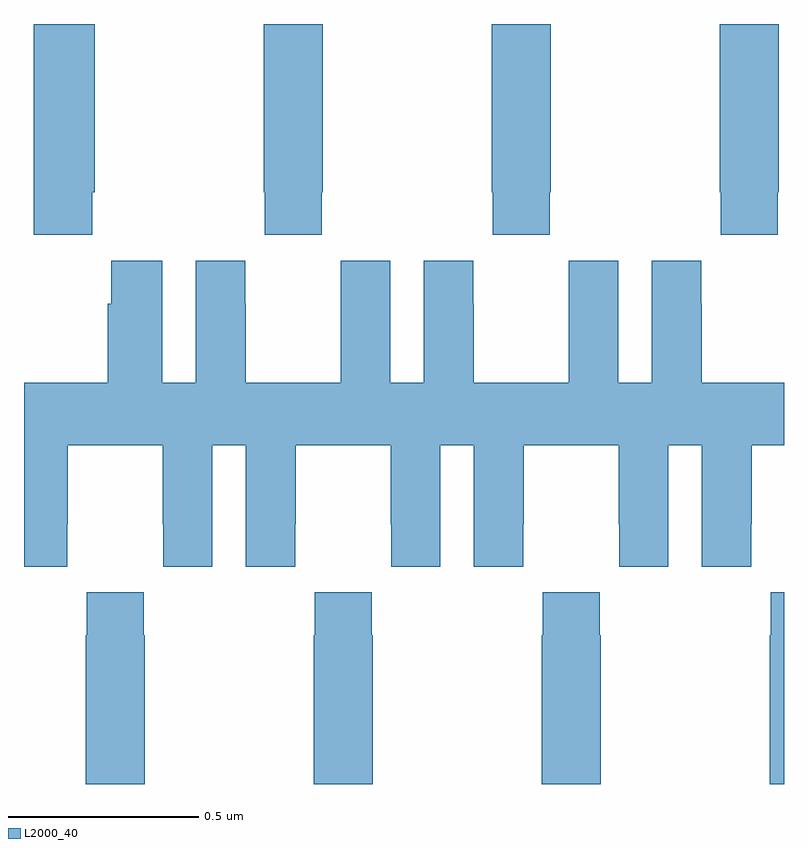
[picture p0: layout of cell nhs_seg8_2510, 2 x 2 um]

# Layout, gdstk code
import gdstk
lib = gdstk.Library(unit=1e-6, precision=1e-09)
def P(c, l, *ps):  # polygons
    for p in ps: c.add(gdstk.Polygon(p, *l))
L2000_40 = (2000, 40)

nhs_seg8_2510 = lib.new_cell('nhs_seg8_2510')
P(nhs_seg8_2510, L2000_40, [(144.179,1158.457),(144.186,1158.457),(144.186,1158.9),(144.026,1158.9),(144.026,1158.345),(144.179,1158.345)],
  [(145.983,1158.457),(145.986,1158.457),(145.986,1158.9),(145.831,1158.9),(145.831,1158.457),(145.833,1158.457),(145.833,1158.345),(145.983,1158.345)],
  [(145.383,1158.457),(145.386,1158.457),(145.386,1158.9),(145.231,1158.9),(145.231,1158.457),(145.233,1158.457),(145.233,1158.345),(145.383,1158.345)],
  [(144.783,1158.457),(144.786,1158.457),(144.786,1158.9),(144.631,1158.9),(144.631,1158.457),(144.633,1158.457),(144.633,1158.345),(144.783,1158.345)],
  [(145.783,1158.164),(145.782,1158.164),(145.782,1158.277),(145.652,1158.277),(145.652,1157.956),(145.564,1157.956),(145.564,1158.277),(145.434,1158.277),(145.434,1158.164),(145.433,1158.164),(145.433,1157.956),(145.183,1157.956),(145.183,1158.164),(145.182,1158.164),(145.182,1158.277),(145.052,1158.277),(145.052,1157.956),(144.964,1157.956),(144.964,1158.277),(144.834,1158.277),(144.834,1158.164),(144.833,1158.164),(144.833,1157.956),(144.583,1157.956),(144.583,1158.164),(144.582,1158.164),(144.582,1158.277),(144.452,1158.277),(144.452,1157.956),(144.364,1157.956),(144.364,1158.277),(144.23,1158.277),(144.23,1158.164),(144.221,1158.164),(144.221,1157.956),(144,1157.956),(144,1157.472),(144.114,1157.472),(144.114,1157.584),(144.115,1157.584),(144.115,1157.792),(144.365,1157.792),(144.365,1157.584),(144.366,1157.584),(144.366,1157.472),(144.496,1157.472),(144.496,1157.792),(144.584,1157.792),(144.584,1157.472),(144.714,1157.472),(144.714,1157.584),(144.715,1157.584),(144.715,1157.792),(144.965,1157.792),(144.965,1157.584),(144.966,1157.584),(144.966,1157.472),(145.096,1157.472),(145.096,1157.792),(145.184,1157.792),(145.184,1157.472),(145.314,1157.472),(145.314,1157.584),(145.315,1157.584),(145.315,1157.792),(145.565,1157.792),(145.565,1157.584),(145.566,1157.584),(145.566,1157.472),(145.696,1157.472),(145.696,1157.792),(145.784,1157.792),(145.784,1157.472),(145.914,1157.472),(145.914,1157.584),(145.915,1157.584),(145.915,1157.792),(146,1157.792),(146,1157.956),(145.783,1157.956)],
  [(146,1157.404),(145.965,1157.404),(145.965,1157.291),(145.963,1157.291),(145.963,1156.9),(146,1156.9)],
  [(145.518,1157.291),(145.515,1157.291),(145.515,1157.404),(145.365,1157.404),(145.365,1157.291),(145.363,1157.291),(145.363,1156.9),(145.518,1156.9)],
  [(144.918,1157.291),(144.915,1157.291),(144.915,1157.404),(144.765,1157.404),(144.765,1157.291),(144.763,1157.291),(144.763,1156.9),(144.918,1156.9)],
  [(144.318,1157.291),(144.315,1157.291),(144.315,1157.404),(144.165,1157.404),(144.165,1157.291),(144.163,1157.291),(144.163,1156.9),(144.318,1156.9)])

lib.write_gds('nhs_seg8_2510.gds')
